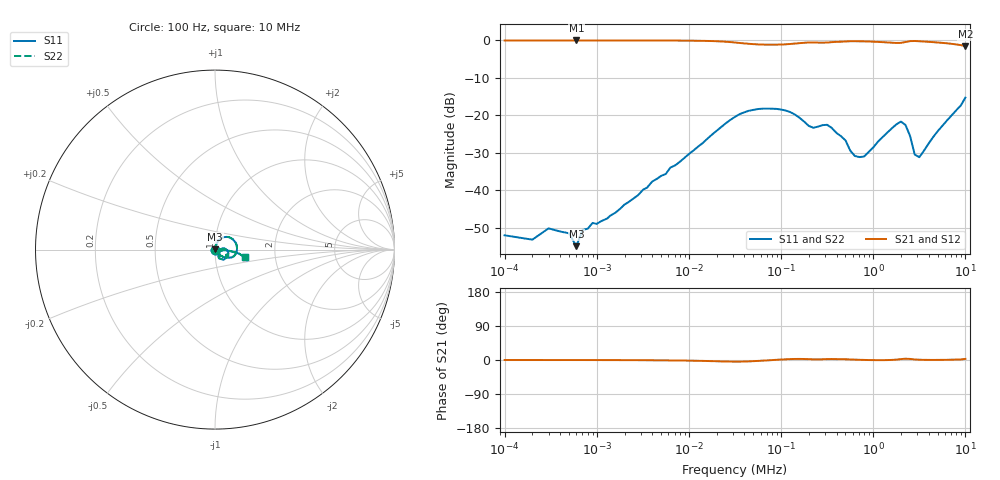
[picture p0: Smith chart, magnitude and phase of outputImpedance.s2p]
# MHz MA S R 0.01
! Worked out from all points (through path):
!   90 points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, 100 Hz to 10 MHz, reference 0.01 ohm
!   highest |S21| = 0.00 dB at 600 Hz (marker M1); lowest = -1.6 dB at 10 MHz (marker M2)
!   lowest |S11| = -54.9 dB at 600 Hz (marker M3), VSWR 1.00, Z = 0.01 + j3.45e-05 ohm
!   |S11| at or under -10 dB: start of sweep to end of sweep
!   |S22| runs from -54.9 to -15.3 dB; largest |S21 - S12| = 0
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0.0001  0.002498 -2.2  0.9975 0.0  0.9975 0.0  0.002498 -2.2
0.0002  0.002186 18.8  0.9979 -0.0  0.9979 -0.0  0.002186 18.8
0.0003  0.003093 32.9  0.9974 -0.1  0.9974 -0.1  0.003093 32.9
0.0005  0.002657 26.9  0.9976 -0.1  0.9976 -0.1  0.002657 26.9
0.0006  0.001789 74.3  0.9995 -0.1  0.9995 -0.1  0.001789 74.3
0.0007  0.002941 31.4  0.9975 -0.1  0.9975 -0.1  0.002941 31.4
0.0013  0.004196 62.2  0.998 -0.2  0.998 -0.2  0.004196 62.2
0.005  0.01554 75.5  0.9962 -0.9  0.9962 -0.9  0.01554 75.5
0.0355  0.1039 41.9  0.9253 -4.3  0.9253 -4.3  0.1039 41.9
0.1  0.1195 -9.0  0.8822 1.2  0.8822 1.2  0.1195 -9.0
0.2239  0.06824 -25.7  0.939 1.8  0.939 1.8  0.06824 -25.7
0.3162  0.07467 -32.4  0.9378 2.4  0.9378 2.4  0.07467 -32.4
0.631  0.02868 -32.9  0.9761 0.9  0.9761 0.9  0.02868 -32.9
0.7079  0.02768 -18.9  0.9739 0.5  0.9739 0.5  0.02768 -18.9
0.7943  0.02813 -6.9  0.9721 0.2  0.9721 0.2  0.02813 -6.9
1.5849  0.06669 -2.7  0.9334 0.2  0.9334 0.2  0.06669 -2.7
1.9953  0.08237 -27.4  0.9276 2.3  0.9276 2.3  0.08237 -27.4
2.2387  0.07437 -49.5  0.9534 3.4  0.9534 3.4  0.07437 -49.5
2.5119  0.05292 -65.6  0.9793 2.8  0.9793 2.8  0.05292 -65.6
2.8184  0.02996 -54.8  0.983 1.4  0.983 1.4  0.02996 -54.8
3.1623  0.0276 -26.1  0.9753 0.7  0.9753 0.7  0.0276 -26.1
10  0.1724 -14.3  0.834 2.9  0.834 2.9  0.1724 -14.3
